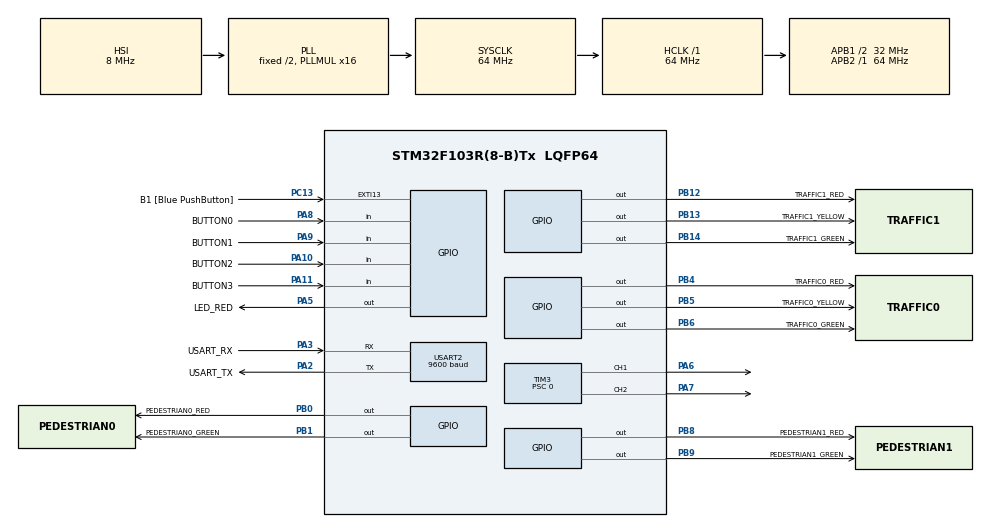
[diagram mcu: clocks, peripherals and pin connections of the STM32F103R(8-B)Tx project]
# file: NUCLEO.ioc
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Mcu.Family=STM32F1
Mcu.Name=STM32F103R(8-B)Tx
Mcu.Package=LQFP64
NVIC.EXTI15_10_IRQn=true\:0\:0\:false\:false\:true\:true\:true\:true
NVIC.PriorityGroup=NVIC_PRIORITYGROUP_4
NVIC.TIM2_IRQn=true\:0\:0\:false\:false\:true\:true\:true\:true
NVIC.TIM3_IRQn=true\:0\:0\:false\:false\:true\:true\:true\:true
NVIC.USART2_IRQn=true\:0\:0\:false\:false\:true\:true\:true\:true
PA10.GPIO_Label=BUTTON2
PA10.GPIO_PuPd=GPIO_PULLUP
PA10.Signal=GPIO_Input
PA11.GPIO_Label=BUTTON3
PA11.GPIO_PuPd=GPIO_PULLUP
PA11.Signal=GPIO_Input
PA13.GPIO_Label=TMS
PA13.Mode=Serial_Wire
PA13.Signal=SYS_JTMS-SWDIO
PA14.GPIO_Label=TCK
PA14.Mode=Serial_Wire
PA14.Signal=SYS_JTCK-SWCLK
PA2.GPIO_Label=USART_TX
PA2.GPIO_Mode=GPIO_MODE_AF_PP
PA2.GPIO_PuPd=GPIO_NOPULL
PA2.GPIO_Speed=GPIO_SPEED_FREQ_LOW
PA2.Mode=Asynchronous
PA2.Signal=USART2_TX
PA3.GPIO_Label=USART_RX
PA3.GPIO_Mode=GPIO_MODE_AF_PP
PA3.GPIO_PuPd=GPIO_NOPULL
PA3.GPIO_Speed=GPIO_SPEED_FREQ_LOW
PA3.Mode=Asynchronous
PA3.Signal=USART2_RX
PA5.GPIO_Label=LED_RED
PA5.GPIO_ModeDefaultOutputPP=GPIO_MODE_OUTPUT_PP
PA5.GPIO_PuPd=GPIO_PULLUP
PA5.GPIO_Speed=GPIO_SPEED_FREQ_LOW
PA5.Signal=GPIO_Output
PA6.Signal=S_TIM3_CH1
PA7.Signal=S_TIM3_CH2
PA8.GPIO_Label=BUTTON0
PA8.GPIO_PuPd=GPIO_PULLUP
PA8.Signal=GPIO_Input
PA9.GPIO_Label=BUTTON1
PA9.GPIO_PuPd=GPIO_PULLUP
PA9.Signal=GPIO_Input
PB0.GPIO_Label=PEDESTRIAN0_RED
PB0.GPIO_PuPd=GPIO_PULLUP
PB0.Signal=GPIO_Output
PB1.GPIO_Label=PEDESTRIAN0_GREEN
PB1.GPIO_PuPd=GPIO_PULLUP
PB1.Signal=GPIO_Output
PB12.GPIO_Label=TRAFFIC1_RED
PB12.GPIO_PuPd=GPIO_PULLUP
PB12.Signal=GPIO_Output
PB13.GPIO_Label=TRAFFIC1_YELLOW
PB13.GPIO_PuPd=GPIO_PULLUP
PB13.Signal=GPIO_Output
PB14.GPIO_Label=TRAFFIC1_GREEN
PB14.GPIO_PuPd=GPIO_PULLUP
PB14.Signal=GPIO_Output
PB3.GPIO_Label=SWO
PB3.Signal=SYS_JTDO-TRACESWO
PB4.GPIO_Label=TRAFFIC0_RED
PB4.GPIO_PuPd=GPIO_PULLUP
PB4.Signal=GPIO_Output
PB5.GPIO_Label=TRAFFIC0_YELLOW
PB5.GPIO_PuPd=GPIO_PULLUP
PB5.Signal=GPIO_Output
PB6.GPIO_Label=TRAFFIC0_GREEN
PB6.GPIO_PuPd=GPIO_PULLUP
PB6.Signal=GPIO_Output
PB8.GPIO_Label=PEDESTRIAN1_RED
PB8.GPIO_PuPd=GPIO_PULLUP
PB8.Signal=GPIO_Output
PB9.GPIO_Label=PEDESTRIAN1_GREEN
PB9.GPIO_PuPd=GPIO_PULLUP
PB9.Signal=GPIO_Output
PC13-TAMPER-RTC.GPIO_Label=B1 [Blue PushButton]
PC13-TAMPER-RTC.GPIO_PuPd=GPIO_NOPULL
PC13-TAMPER-RTC.Signal=GPXTI13
PC14-OSC32_IN.Mode=LSE-External-Oscillator
PC14-OSC32_IN.Signal=RCC_OSC32_IN
PC15-OSC32_OUT.Mode=LSE-External-Oscillator
PC15-OSC32_OUT.Signal=RCC_OSC32_OUT
PD0-OSC_IN.Mode=HSE-External-Clock-Source
PD0-OSC_IN.Signal=RCC_OSC_IN
PD1-OSC_OUT.Mode=HSE-External-Clock-Source
PD1-OSC_OUT.Signal=RCC_OSC_OUT
ProjectManager.HeapSize=0x200
ProjectManager.StackSize=0x400
ProjectManager.TargetToolchain=STM32CubeIDE
RCC.AHBFreq_Value=64000000
RCC.APB1CLKDivider=RCC_HCLK_DIV2
RCC.APB1Freq_Value=32000000
RCC.APB1TimFreq_Value=64000000
RCC.APB2Freq_Value=64000000
RCC.APB2TimFreq_Value=64000000
RCC.HCLKFreq_Value=64000000
RCC.PLLMUL=RCC_PLL_MUL16
RCC.RTCClockSelection=RCC_RTCCLKSOURCE_LSE
RCC.SYSCLKFreq_VALUE=64000000
RCC.SYSCLKSource=RCC_SYSCLKSOURCE_PLLCLK
RCC.USBFreq_Value=64000000
SH.S_TIM3_CH1.0=TIM3_CH1,PWM Generation1 CH1
SH.S_TIM3_CH2.0=TIM3_CH2,PWM Generation2 CH2
TIM2.Period=63999
TIM2.Prescaler=9
TIM3.Channel-PWM\ Generation1\ CH1=TIM_CHANNEL_1
TIM3.Channel-PWM\ Generation2\ CH2=TIM_CHANNEL_2
TIM3.Period=31999
TIM3.Prescaler=0
USART2.BaudRate=9600
USART2.VirtualMode=VM_ASYNC
VP_TIM2_VS_ClockSourceINT.Mode=Internal
VP_TIM3_VS_ClockSourceINT.Mode=Internal
board=NUCLEO-F103RB

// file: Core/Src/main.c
/* USER CODE BEGIN Header */
/**
  ******************************************************************************
  * @file           : main.c
  * @brief          : Main program body
  ******************************************************************************
  * @attention
  *
  * Copyright (c) 2023 STMicroelectronics.
  * All rights reserved.
  *
  * This software is licensed under terms that can be found in the LICENSE file
  * in the root directory of this software component.
  * If no LICENSE file comes with this software, it is provided AS-IS.
  *
  ******************************************************************************
  */
/* USER CODE END Header */
#include "main.h"

/* USER CODE BEGIN Includes */
#include <stdint.h>
#include <stdio.h>
#include "button.h"
#include "fsm.h"
#include "scheduler.h"
#include "test.h"
#include "uart.h"
/* USER CODE END Includes */

TIM_HandleTypeDef htim2;
TIM_HandleTypeDef htim3;

UART_HandleTypeDef huart2;

void SystemClock_Config(void);
static void MX_GPIO_Init(void);
static void MX_USART2_UART_Init(void);
static void MX_TIM2_Init(void);
static void MX_TIM3_Init(void);

/* USER CODE BEGIN 0 */
uint8_t temp = 0;
uint16_t vol = 0;
void HAL_UART_RxCpltCallback(UART_HandleTypeDef *huart) {
	if (huart->Instance == USART2) {
		HAL_UART_Receive_IT(&huart2, &temp, 1);
		HAL_UART_Transmit(&huart2, &temp, 1, 50);
	}
}
/* USER CODE END 0 */

int main(void)
{

  /* MCU Configuration--------------------------------------------------------*/

  /* Reset of all peripherals, Initializes the Flash interface and the Systick. */
  HAL_Init();

  /* Configure the system clock */
  SystemClock_Config();

  /* Initialize all configured peripherals */
  MX_GPIO_Init();
  MX_USART2_UART_Init();
  MX_TIM2_Init();
  MX_TIM3_Init();
  /* USER CODE BEGIN 2 */
  HAL_TIM_Base_Start_IT(&htim2);
  HAL_TIM_PWM_Start(&htim3, TIM_CHANNEL_1);
  HAL_TIM_PWM_Start(&htim3, TIM_CHANNEL_2);
  HAL_UART_Receive_IT(&huart2, &temp, 1);
  SCH_Init();
  /* USER CODE END 2 */

  /* Infinite loop */
  /* USER CODE BEGIN WHILE */
  SCH_AddTask(testMCU, 0, 500);
//  SCH_AddTask(uartReport, 100, 5000);
  SCH_AddTask(buttonReading, 0, TIMER_TICK);
   SCH_AddTask(fsmInit, 0, 0);
   SCH_AddTask(fsmProcessing, 10, TIMER_TICK);
  while (1)
  {
//    	  __HAL_TIM_SetCompare(&htim3, TIM_CHANNEL_2, 0);
    /* USER CODE END WHILE */

    /* USER CODE BEGIN 3 */
    SCH_Dispatch();
  }
  /* USER CODE END 3 */
}

void SystemClock_Config(void)
{
  RCC_OscInitTypeDef RCC_OscInitStruct = {0};
  RCC_ClkInitTypeDef RCC_ClkInitStruct = {0};

  /** Initializes the RCC Oscillators according to the specified parameters
  * in the RCC_OscInitTypeDef structure.
  */
  RCC_OscInitStruct.OscillatorType = RCC_OSCILLATORTYPE_HSI;
  RCC_OscInitStruct.HSIState = RCC_HSI_ON;
  RCC_OscInitStruct.HSICalibrationValue = RCC_HSICALIBRATION_DEFAULT;
  RCC_OscInitStruct.PLL.PLLState = RCC_PLL_ON;
  RCC_OscInitStruct.PLL.PLLSource = RCC_PLLSOURCE_HSI_DIV2;
  RCC_OscInitStruct.PLL.PLLMUL = RCC_PLL_MUL16;
  if (HAL_RCC_OscConfig(&RCC_OscInitStruct) != HAL_OK)
  {
    Error_Handler();
  }

  /** Initializes the CPU, AHB and APB buses clocks
  */
  RCC_ClkInitStruct.ClockType = RCC_CLOCKTYPE_HCLK|RCC_CLOCKTYPE_SYSCLK
                              |RCC_CLOCKTYPE_PCLK1|RCC_CLOCKTYPE_PCLK2;
  RCC_ClkInitStruct.SYSCLKSource = RCC_SYSCLKSOURCE_PLLCLK;
  RCC_ClkInitStruct.AHBCLKDivider = RCC_SYSCLK_DIV1;
  RCC_ClkInitStruct.APB1CLKDivider = RCC_HCLK_DIV2;
  RCC_ClkInitStruct.APB2CLKDivider = RCC_HCLK_DIV1;

  if (HAL_RCC_ClockConfig(&RCC_ClkInitStruct, FLASH_LATENCY_2) != HAL_OK)
  {
    Error_Handler();
  }
}

static void MX_TIM2_Init(void)
{

  TIM_ClockConfigTypeDef sClockSourceConfig = {0};
  TIM_MasterConfigTypeDef sMasterConfig = {0};

  htim2.Instance = TIM2;
  htim2.Init.Prescaler = 9;
  htim2.Init.CounterMode = TIM_COUNTERMODE_UP;
  htim2.Init.Period = 63999;
  htim2.Init.ClockDivision = TIM_CLOCKDIVISION_DIV1;
  htim2.Init.AutoReloadPreload = TIM_AUTORELOAD_PRELOAD_DISABLE;
  if (HAL_TIM_Base_Init(&htim2) != HAL_OK)
  {
    Error_Handler();
  }
  sClockSourceConfig.ClockSource = TIM_CLOCKSOURCE_INTERNAL;
  if (HAL_TIM_ConfigClockSource(&htim2, &sClockSourceConfig) != HAL_OK)
  {
    Error_Handler();
  }
  sMasterConfig.MasterOutputTrigger = TIM_TRGO_RESET;
  sMasterConfig.MasterSlaveMode = TIM_MASTERSLAVEMODE_DISABLE;
  if (HAL_TIMEx_MasterConfigSynchronization(&htim2, &sMasterConfig) != HAL_OK)
  {
    Error_Handler();
  }

}

static void MX_TIM3_Init(void)
{

  TIM_ClockConfigTypeDef sClockSourceConfig = {0};
  TIM_MasterConfigTypeDef sMasterConfig = {0};
  TIM_OC_InitTypeDef sConfigOC = {0};

  htim3.Instance = TIM3;
  htim3.Init.Prescaler = 0;
  htim3.Init.CounterMode = TIM_COUNTERMODE_UP;
  htim3.Init.Period = 31999;
  htim3.Init.ClockDivision = TIM_CLOCKDIVISION_DIV1;
  htim3.Init.AutoReloadPreload = TIM_AUTORELOAD_PRELOAD_DISABLE;
  if (HAL_TIM_Base_Init(&htim3) != HAL_OK)
  {
    Error_Handler();
  }
  sClockSourceConfig.ClockSource = TIM_CLOCKSOURCE_INTERNAL;
  if (HAL_TIM_ConfigClockSource(&htim3, &sClockSourceConfig) != HAL_OK)
  {
    Error_Handler();
  }
  if (HAL_TIM_PWM_Init(&htim3) != HAL_OK)
  {
    Error_Handler();
  }
  sMasterConfig.MasterOutputTrigger = TIM_TRGO_RESET;
  sMasterConfig.MasterSlaveMode = TIM_MASTERSLAVEMODE_DISABLE;
  if (HAL_TIMEx_MasterConfigSynchronization(&htim3, &sMasterConfig) != HAL_OK)
  {
    Error_Handler();
  }
  sConfigOC.OCMode = TIM_OCMODE_PWM1;
  sConfigOC.Pulse = 0;
  sConfigOC.OCPolarity = TIM_OCPOLARITY_HIGH;
  sConfigOC.OCFastMode = TIM_OCFAST_DISABLE;
  if (HAL_TIM_PWM_ConfigChannel(&htim3, &sConfigOC, TIM_CHANNEL_1) != HAL_OK)
  {
    Error_Handler();
  }
  if (HAL_TIM_PWM_ConfigChannel(&htim3, &sConfigOC, TIM_CHANNEL_2) != HAL_OK)
  {
    Error_Handler();
  }
  HAL_TIM_MspPostInit(&htim3);

}

static void MX_USART2_UART_Init(void)
{

  huart2.Instance = USART2;
  huart2.Init.BaudRate = 9600;
  huart2.Init.WordLength = UART_WORDLENGTH_8B;
  huart2.Init.StopBits = UART_STOPBITS_1;
  huart2.Init.Parity = UART_PARITY_NONE;
  huart2.Init.Mode = UART_MODE_TX_RX;
  huart2.Init.HwFlowCtl = UART_HWCONTROL_NONE;
  huart2.Init.OverSampling = UART_OVERSAMPLING_16;
  if (HAL_UART_Init(&huart2) != HAL_OK)
  {
    Error_Handler();
  }

}

static void MX_GPIO_Init(void)
{
  GPIO_InitTypeDef GPIO_InitStruct = {0};

  /* GPIO Ports Clock Enable */
  __HAL_RCC_GPIOC_CLK_ENABLE();
  __HAL_RCC_GPIOD_CLK_ENABLE();
  __HAL_RCC_GPIOA_CLK_ENABLE();
  __HAL_RCC_GPIOB_CLK_ENABLE();

  /*Configure GPIO pin Output Level */
  HAL_GPIO_WritePin(LED_RED_GPIO_Port, LED_RED_Pin, GPIO_PIN_RESET);

  /*Configure GPIO pin Output Level */
  HAL_GPIO_WritePin(GPIOB, PEDESTRIAN0_RED_Pin|PEDESTRIAN0_GREEN_Pin|TRAFFIC1_RED_Pin|TRAFFIC1_YELLOW_Pin
                          |TRAFFIC1_GREEN_Pin|TRAFFIC0_RED_Pin|TRAFFIC0_YELLOW_Pin|TRAFFIC0_GREEN_Pin
                          |PEDESTRIAN1_RED_Pin|PEDESTRIAN1_GREEN_Pin, GPIO_PIN_RESET);

  /*Configure GPIO pin : B1_Pin */
  GPIO_InitStruct.Pin = B1_Pin;
  GPIO_InitStruct.Mode = GPIO_MODE_IT_RISING;
  GPIO_InitStruct.Pull = GPIO_NOPULL;
  HAL_GPIO_Init(B1_GPIO_Port, &GPIO_InitStruct);

  /*Configure GPIO pin : LED_RED_Pin */
  GPIO_InitStruct.Pin = LED_RED_Pin;
  GPIO_InitStruct.Mode = GPIO_MODE_OUTPUT_PP;
  GPIO_InitStruct.Pull = GPIO_PULLUP;
  GPIO_InitStruct.Speed = GPIO_SPEED_FREQ_LOW;
  HAL_GPIO_Init(LED_RED_GPIO_Port, &GPIO_InitStruct);

  /*Configure GPIO pins : PEDESTRIAN0_RED_Pin PEDESTRIAN0_GREEN_Pin TRAFFIC1_RED_Pin TRAFFIC1_YELLOW_Pin
                           TRAFFIC1_GREEN_Pin TRAFFIC0_RED_Pin TRAFFIC0_YELLOW_Pin TRAFFIC0_GREEN_Pin
                           PEDESTRIAN1_RED_Pin PEDESTRIAN1_GREEN_Pin */
  GPIO_InitStruct.Pin = PEDESTRIAN0_RED_Pin|PEDESTRIAN0_GREEN_Pin|TRAFFIC1_RED_Pin|TRAFFIC1_YELLOW_Pin
                          |TRAFFIC1_GREEN_Pin|TRAFFIC0_RED_Pin|TRAFFIC0_YELLOW_Pin|TRAFFIC0_GREEN_Pin
                          |PEDESTRIAN1_RED_Pin|PEDESTRIAN1_GREEN_Pin;
  GPIO_InitStruct.Mode = GPIO_MODE_OUTPUT_PP;
  GPIO_InitStruct.Pull = GPIO_PULLUP;
  GPIO_InitStruct.Speed = GPIO_SPEED_FREQ_LOW;
  HAL_GPIO_Init(GPIOB, &GPIO_InitStruct);

  /*Configure GPIO pins : BUTTON0_Pin BUTTON1_Pin BUTTON2_Pin BUTTON3_Pin */
  GPIO_InitStruct.Pin = BUTTON0_Pin|BUTTON1_Pin|BUTTON2_Pin|BUTTON3_Pin;
  GPIO_InitStruct.Mode = GPIO_MODE_INPUT;
  GPIO_InitStruct.Pull = GPIO_PULLUP;
  HAL_GPIO_Init(GPIOA, &GPIO_InitStruct);

  /* EXTI interrupt init*/
  HAL_NVIC_SetPriority(EXTI15_10_IRQn, 0, 0);
  HAL_NVIC_EnableIRQ(EXTI15_10_IRQn);

}

/* USER CODE BEGIN 4 */
void HAL_TIM_PeriodElapsedCallback(TIM_HandleTypeDef *htim) {
	if (htim->Instance == TIM2) {
		SCH_Update();
	}
}
/* USER CODE END 4 */

void Error_Handler(void)
{
  __disable_irq();
  while (1)
  {
  }
}
